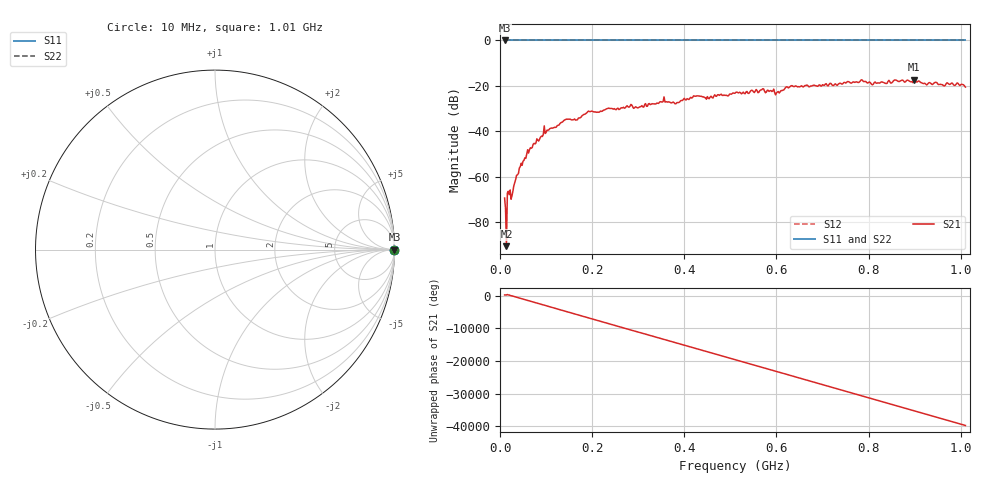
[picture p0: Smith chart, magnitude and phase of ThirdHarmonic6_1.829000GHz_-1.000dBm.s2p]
! 8/16/2025 10:09:26 PM
! C:\ANRITSUVNA\TEMP\TEMP.S2P
! CHANNEL.1
! TR.MEASUREMENT
! RAW.DATA
! RF.CORRECTION.OFF
! AVERAGING.OFF
! IF.BANDWIDTH: 5KHZ
! SWEEPTYPE:  FREQ.SWEEP(Linear)
! Reference Plane Port Info
! PORT:  PORT1  PORT2
! DISTANCE:  0  m  0  m
! TIME:  0  s  0  s
! PHASE.OFFSET:  0  deg.  0  deg.
! LOSS:  0  dB  0  dB
! REF.LOSS:  0  dB  0  dB
! REF.FREQ:  0  Hz  0  Hz
! Power Info
! POWER:  -20  dBm  -20  dBm
! EFF.POWER:  -20  dBm  -20  dBm
! SOURCE.ATTEN:  0  dB  0  dB
! TEST.ATTEN:  0  dB  0  dB
# GHZ S RI R 50.0
! FREQ.GHZ  S11RE  S11IM  S21RE  S21IM  S12RE  S12IM  S22RE  S22IM
!; PortSelection: Port_12
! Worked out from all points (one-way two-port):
!   501 points, 10 MHz to 1.01 GHz, reference 50 ohm
!   highest |S21| = -17.33 dB at 898 MHz (marker M1); lowest = -90.7 dB at 14 MHz (marker M2)
!   lowest |S11| = 0.0 dB at 10 MHz (marker M3)
!   |S11| at or under -10 dB: nowhere
!   |S22| runs from 0.0 to 0.0 dB; largest |S21 - S12| = 1.1
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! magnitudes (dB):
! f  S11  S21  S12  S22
! 10 MHz  0.0  -69.5  0.0  0.0
! 14 MHz  0.0  -90.7  0.0  0.0
! 20 MHz  0.0  -68.0  0.0  0.0
! 28 MHz  0.0  -66.5  0.0  0.0
! 40 MHz  0.0  -58.6  0.0  0.0
! 56 MHz  0.0  -52.0  0.0  0.0
! 92 MHz  0.0  -42.3  0.0  0.0
! 142 MHz  0.0  -34.9  0.0  0.0
! 178 MHz  0.0  -33.2  0.0  0.0
! 194 MHz  0.0  -31.4  0.0  0.0
! 344 MHz  0.0  -27.7  0.0  0.0
! 384 MHz  0.0  -27.4  0.0  0.0
! 424 MHz  0.0  -24.6  0.0  0.0
! 450 MHz  0.0  -24.8  0.0  0.0
! 510 MHz  0.0  -23.3  0.0  0.0
! 568 MHz  0.0  -21.7  0.0  0.0
! 602 MHz  0.0  -22.7  0.0  0.0
! 632 MHz  0.0  -20.0  0.0  0.0
! 678 MHz  0.0  -20.0  0.0  0.0
! 844 MHz  0.0  -17.6  0.0  0.0
! 898 MHz  0.0  -17.3  0.0  0.0
! 1.01 GHz  0.0  -20.5  0.0  0.0
